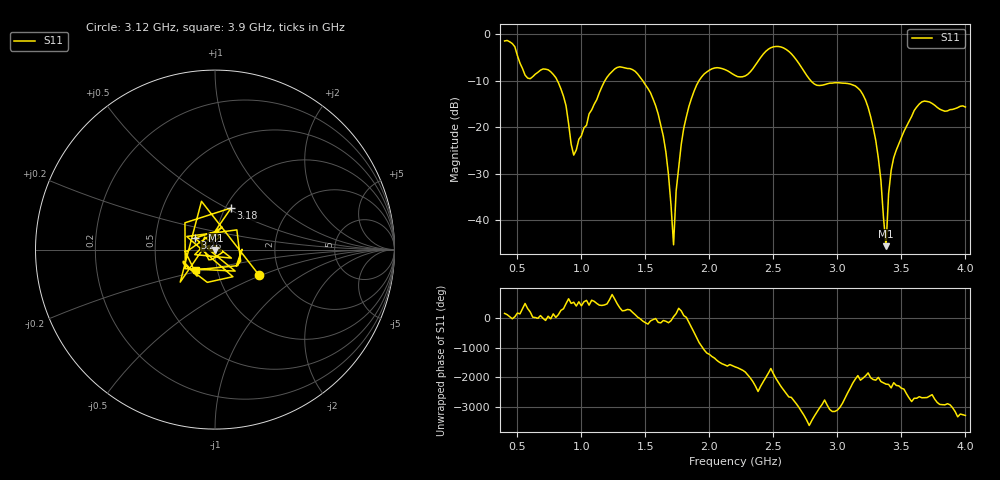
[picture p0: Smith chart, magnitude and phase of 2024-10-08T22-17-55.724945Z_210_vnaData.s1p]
! Created with skrf (http://scikit-rf.org).
# Hz S RI R 50.0
!freq ReS11 ImS11
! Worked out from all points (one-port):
!   181 points, 400 MHz to 4 GHz, reference 50 ohm
!   lowest |S11| = -45.6 dB at 3.38 GHz (marker M1), VSWR 1.01, Z = 50.2 - j0.475 ohm
!   |S11| at or under -10 dB: 813.1 MHz to 1.183 GHz (369.5 MHz wide, 37 % of centre); 1.481 GHz to 1.918 GHz (437.2 MHz wide, 25.7 % of centre); 2.794 GHz to end of sweep
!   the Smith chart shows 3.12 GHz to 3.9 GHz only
!   S11 on the Smith chart (normalised r, x): 3.12 GHz: 1.56, -0.49; 3.18 GHz: 1.06, +0.53; 3.26 GHz: 0.79, +0.10; 3.9 GHz: 0.79, -0.18
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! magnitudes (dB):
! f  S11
! 400 MHz  -1.4
! 580 MHz  -9.4
! 740 MHz  -7.6
! 860 MHz  -13.3
! 940 MHz  -26.0
! 1.3 GHz  -7.0
! 1.6 GHz  -17.1
! 1.66 GHz  -25.3
! 1.72 GHz  -45.3
! 1.74 GHz  -33.7
! 1.76 GHz  -28.8
! 1.82 GHz  -17.7
! 1.92 GHz  -9.9
! 2.2 GHz  -8.8
! 2.5 GHz  -2.7
! 2.66 GHz  -4.8
! 2.84 GHz  -10.9
! 3.1 GHz  -10.7
! 3.12 GHz  -10.9
! 3.18 GHz  -12.1
! 3.26 GHz  -17.7
! 3.32 GHz  -26.6
! 3.38 GHz  -45.6
! 3.42 GHz  -29.2
! 3.56 GHz  -18.7
! 3.68 GHz  -14.3
! 3.9 GHz  -16.1
! 4 GHz  -15.6
